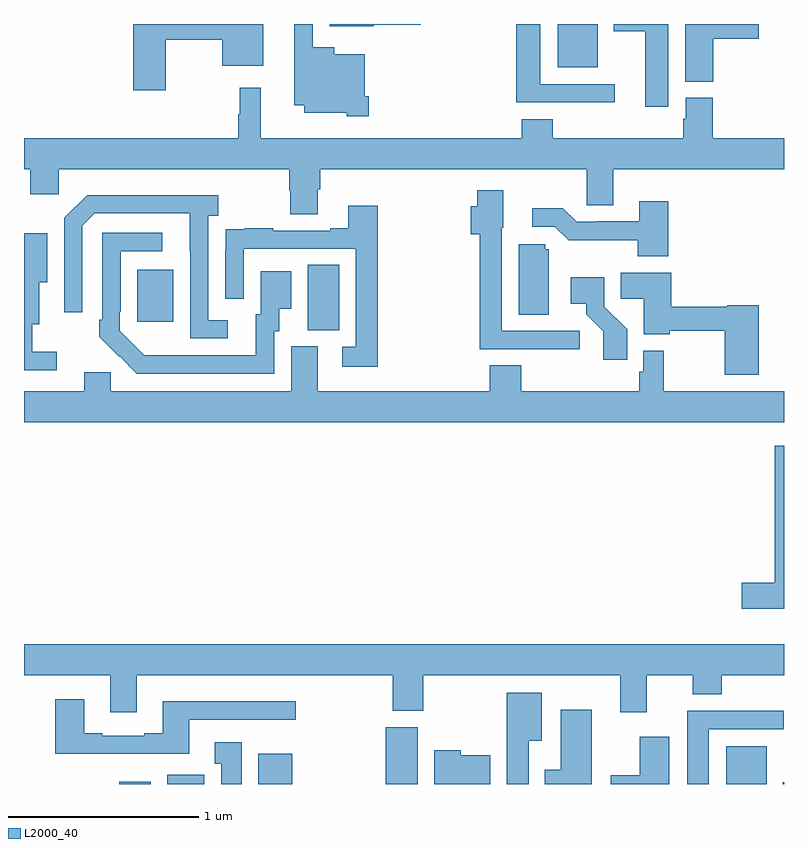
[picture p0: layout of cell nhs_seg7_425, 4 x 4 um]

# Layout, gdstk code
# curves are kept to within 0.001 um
import gdstk
lib = gdstk.Library(unit=1e-6, precision=1e-09)
def R(c, l, rs):  # rectangles x0, y0, x1, y1
    for r in rs: c.add(gdstk.rectangle(r[:2], r[2:], *l))
def P(c, l, *ps):  # polygons
    for p in ps: c.add(gdstk.Polygon(p, *l))
L2000_40 = (2000, 40)

nhs_seg7_425 = lib.new_cell('nhs_seg7_425')
R(nhs_seg7_425, L2000_40, [(143.501,1044,143.668,1044.013), (143.753,1044,143.949,1044.049), (144.233,1044,144.412,1044.16), (144.905,1044,145.072,1044.3), (146.696,1044,146.908,1044.199), (146.993,1044,147,1044.01), (144.494,1046.389,144.658,1046.732), (143.597,1046.433,143.785,1046.707), (145.808,1047.773,146.02,1048)])
P(nhs_seg7_425, L2000_40, [(146.11,1047.684),(145.717,1047.684),(145.717,1048),(145.592,1048),(145.592,1047.587),(146.11,1047.587)],
  [(144.84,1047.995),(145.087,1047.995),(145.087,1048),(144.608,1048),(144.608,1047.989),(144.84,1047.989)],
  [(144.815,1047.619),(144.793,1047.619),(144.793,1047.841),(144.634,1047.841),(144.634,1047.877),(144.519,1047.877),(144.519,1048),(144.422,1048),(144.422,1047.572),(144.476,1047.572),(144.476,1047.533),(144.699,1047.533),(144.699,1047.515),(144.815,1047.515)],
  [(146.627,1047.923),(146.867,1047.923),(146.867,1048),(146.48,1048),(146.48,1047.697),(146.627,1047.697)],
  [(143.746,1047.916),(144.044,1047.916),(144.044,1047.779),(144.259,1047.779),(144.259,1048),(143.576,1048),(143.576,1047.651),(143.746,1047.651)],
  [(146.392,1048),(146.105,1048),(146.105,1047.962),(146.27,1047.962),(146.27,1047.564),(146.392,1047.564)],
  [(144.547,1047.13),(144.56,1047.13),(144.56,1047.236),(145.962,1047.236),(145.962,1047.046),(146.101,1047.046),(146.101,1047.236),(147,1047.236),(147,1047.4),(146.624,1047.4),(146.624,1047.612),(146.483,1047.612),(146.483,1047.501),(146.471,1047.501),(146.471,1047.4),(145.784,1047.4),(145.784,1047.499),(145.619,1047.499),(145.619,1047.4),(144.246,1047.4),(144.246,1047.664),(144.135,1047.664),(144.135,1047.524),(144.127,1047.524),(144.127,1047.4),(143,1047.4),(143,1047.236),(143.033,1047.236),(143.033,1047.105),(143.184,1047.105),(143.184,1047.236),(144.395,1047.236),(144.395,1047.123),(144.4,1047.123),(144.4,1046.998),(144.547,1046.998)],
  [(145.924,1046.385),(145.515,1046.385),(145.515,1046.928),(145.522,1046.928),(145.522,1047.124),(145.386,1047.124),(145.386,1047.042),(145.352,1047.042),(145.352,1046.894),(145.399,1046.894),(145.399,1046.289),(145.699,1046.289),(145.699,1046.287),(145.924,1046.287)],
  [(144.073,1046.442),(143.97,1046.442),(143.97,1046.99),(144.022,1046.99),(144.022,1047.1),(143.332,1047.1),(143.211,1046.979),(143.211,1046.484),(143.307,1046.484),(143.307,1046.937),(143.373,1047.003),(143.873,1047.003),(143.874,1046.346),(144.073,1046.346)],
  [(146.39,1047.067),(146.237,1047.067),(146.237,1046.961),(146.008,1046.961),(146.008,1046.958),(145.908,1046.958),(145.835,1047.031),(145.674,1047.031),(145.674,1046.934),(145.794,1046.934),(145.867,1046.861),(146.23,1046.862),(146.23,1046.777),(146.39,1046.777)],
  [(144.863,1047.043),(144.707,1047.043),(144.707,1046.926),(144.611,1046.926),(144.611,1046.913),(144.311,1046.913),(144.311,1046.926),(144.163,1046.926),(144.163,1046.919),(144.061,1046.919),(144.061,1046.81),(144.06,1046.81),(144.06,1046.555),(144.156,1046.555),(144.156,1046.817),(144.747,1046.817),(144.747,1046.301),(144.675,1046.301),(144.675,1046.196),(144.863,1046.196)],
  [(144.318,1046.382),(144.343,1046.382),(144.343,1046.501),(144.406,1046.501),(144.406,1046.698),(144.245,1046.698),(144.245,1046.472),(144.221,1046.472),(144.221,1046.256),(143.634,1046.257),(143.505,1046.385),(143.505,1046.485),(143.508,1046.485),(143.508,1046.805),(143.728,1046.805),(143.728,1046.901),(143.412,1046.901),(143.412,1046.443),(143.397,1046.443),(143.397,1046.355),(143.594,1046.16),(144.318,1046.16)],
  [(143.173,1046.275),(143.044,1046.275),(143.044,1046.42),(143.08,1046.42),(143.08,1046.642),(143.122,1046.642),(143.122,1046.899),(143,1046.899),(143,1046.178),(143.173,1046.178)],
  [(145.762,1046.814),(145.743,1046.814),(145.743,1046.841),(145.604,1046.841),(145.604,1046.47),(145.762,1046.47)],
  [(146.867,1046.521),(146.7,1046.521),(146.7,1046.513),(146.406,1046.513),(146.406,1046.692),(146.14,1046.692),(146.14,1046.554),(146.261,1046.554),(146.261,1046.366),(146.398,1046.366),(146.398,1046.385),(146.689,1046.385),(146.689,1046.154),(146.867,1046.154)],
  [(146.174,1046.394),(146.055,1046.513),(146.055,1046.668),(145.878,1046.668),(145.878,1046.528),(145.958,1046.528),(145.958,1046.473),(146.049,1046.383),(146.049,1046.232),(146.174,1046.232)],
  [(147,1046.068),(146.368,1046.068),(146.368,1046.281),(146.259,1046.281),(146.259,1046.169),(146.239,1046.169),(146.239,1046.068),(145.616,1046.068),(145.616,1046.204),(145.451,1046.204),(145.451,1046.068),(144.547,1046.068),(144.547,1046.304),(144.407,1046.304),(144.407,1046.068),(143.457,1046.068),(143.457,1046.166),(143.318,1046.166),(143.318,1046.068),(143,1046.068),(143,1045.904),(147,1045.904)],
  [(147,1045.78),(146.95,1045.78),(146.95,1045.058),(146.778,1045.058),(146.778,1044.923),(147,1044.923)],
  [(143,1044.572),(143.453,1044.572),(143.453,1044.378),(143.593,1044.378),(143.593,1044.572),(144.941,1044.572),(144.941,1044.385),(145.101,1044.385),(145.101,1044.572),(146.138,1044.572),(146.138,1044.378),(146.278,1044.378),(146.278,1044.572),(146.519,1044.572),(146.519,1044.473),(146.672,1044.473),(146.672,1044.572),(147,1044.572),(147,1044.736),(143,1044.736)],
  [(145.657,1044.227),(145.726,1044.227),(145.726,1044.481),(145.541,1044.481),(145.541,1044),(145.657,1044)],
  [(143.869,1044.339),(144.43,1044.339),(144.43,1044.436),(143.729,1044.436),(143.729,1044.268),(143.633,1044.268),(143.633,1044.255),(143.413,1044.255),(143.413,1044.268),(143.317,1044.268),(143.317,1044.445),(143.165,1044.445),(143.165,1044.158),(143.869,1044.158)],
  [(145.987,1044.391),(145.826,1044.391),(145.826,1044.076),(145.742,1044.076),(145.742,1044),(145.987,1044)],
  [(146.605,1044.288),(146.998,1044.288),(146.998,1044.386),(146.492,1044.386),(146.492,1044),(146.605,1044)],
  [(146.395,1044.25),(146.24,1044.25),(146.24,1044.045),(146.088,1044.045),(146.088,1044),(146.395,1044)],
  [(144.145,1044.22),(144.005,1044.22),(144.005,1044.107),(144.038,1044.107),(144.038,1044),(144.145,1044)],
  [(145.453,1044.151),(145.299,1044.151),(145.299,1044.178),(145.16,1044.178),(145.16,1044),(145.453,1044)])

lib.write_gds('nhs_seg7_425.gds')
